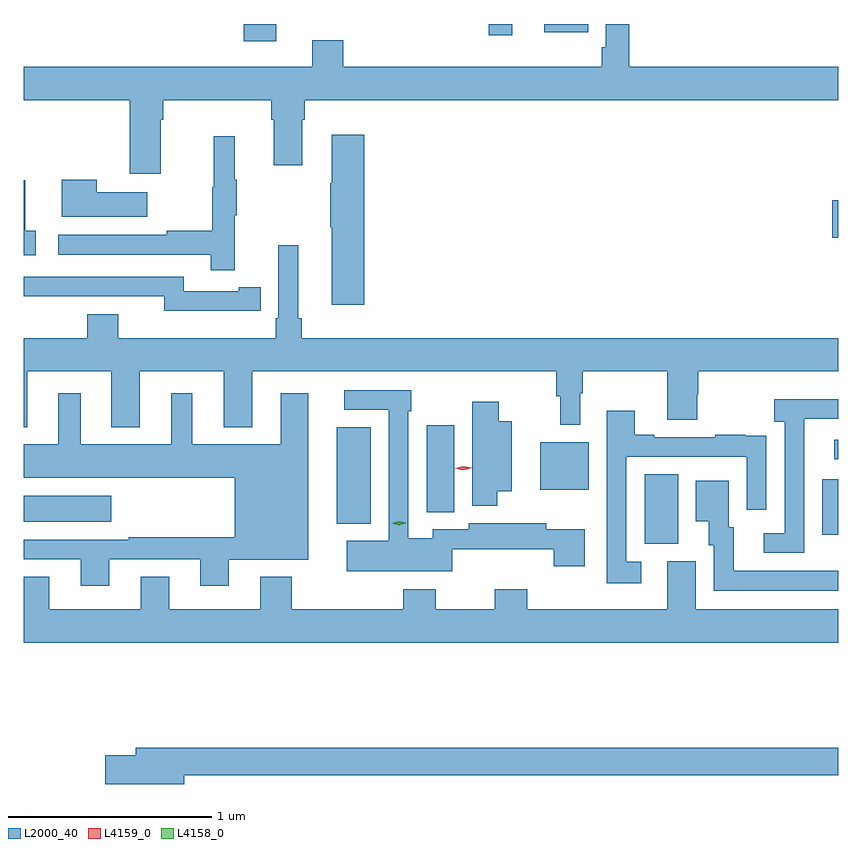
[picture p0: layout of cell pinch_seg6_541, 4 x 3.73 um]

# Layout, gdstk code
import gdstk
lib = gdstk.Library(unit=1e-6, precision=1e-09)
def R(c, l, rs):  # rectangles x0, y0, x1, y1
    for r in rs: c.add(gdstk.rectangle(r[:2], r[2:], *l))
def P(c, l, *ps):  # polygons
    for p in ps: c.add(gdstk.Polygon(p, *l))
L2000_40 = (2000, 40)
L4158_0 = (4158, 0)
L4159_0 = (4159, 0)

pinch_seg6_541 = lib.new_cell('pinch_seg6_541')
R(pinch_seg6_541, L2000_40, [(580.238,990.445,580.402,990.788), (581.111,990.489,581.189,990.763), (578.726,990.545,578.893,991.019), (577.189,990.554,577.618,990.682), (579.167,990.601,579.304,991.027), (579.725,990.71,579.964,990.943), (581.169,990.861,581.189,990.957), (581.16,991.949,581.189,992.132), (578.27,992.913,578.428,992.998), (579.472,992.943,579.588,992.998), (579.746,992.957,579.962,992.998)])
P(pinch_seg6_541, L2000_40, [(577.861,992.528),(577.874,992.528),(577.874,992.624),(578.405,992.624),(578.405,992.528),(578.417,992.528),(578.417,992.304),(578.557,992.304),(578.557,992.528),(578.57,992.528),(578.57,992.624),(581.189,992.624),(581.189,992.788),(580.163,992.788),(580.163,992.998),(580.047,992.998),(580.047,992.884),(580.027,992.884),(580.027,992.788),(578.759,992.788),(578.759,992.918),(578.606,992.918),(578.606,992.788),(577.189,992.788),(577.189,992.624),(577.709,992.624),(577.709,992.262),(577.861,992.262)],
  [(578.861,992.455),(578.702,992.455),(578.702,992.216),(578.695,992.216),(578.695,991.999),(578.702,991.999),(578.702,991.62),(578.861,991.62)],
  [(578.225,992.059),(578.236,992.059),(578.236,992.233),(578.225,992.233),(578.225,992.446),(578.122,992.446),(578.122,992.196),(578.115,992.196),(578.115,991.982),(577.891,991.982),(577.891,991.962),(577.359,991.962),(577.359,991.866),(578.107,991.866),(578.107,991.788),(578.225,991.788)],
  [(577.795,992.173),(577.547,992.173),(577.547,992.233),(577.376,992.233),(577.376,992.051),(577.795,992.051)],
  [(577.249,991.983),(577.196,991.983),(577.196,992.23),(577.189,992.23),(577.189,991.863),(577.249,991.863)],
  [(577.207,991.292),(577.619,991.292),(577.619,991.019),(577.759,991.019),(577.759,991.292),(578.171,991.292),(578.171,991.019),(578.311,991.019),(578.311,991.292),(579.805,991.292),(579.805,991.169),(579.823,991.169),(579.823,991.029),(579.922,991.029),(579.922,991.186),(579.934,991.186),(579.934,991.292),(580.349,991.292),(580.349,991.054),(580.497,991.054),(580.497,991.179),(580.502,991.179),(580.502,991.292),(581.189,991.292),(581.189,991.456),(578.555,991.456),(578.555,991.552),(578.536,991.552),(578.536,991.912),(578.439,991.912),(578.439,991.552),(578.426,991.552),(578.426,991.456),(577.654,991.456),(577.654,991.573),(577.502,991.573),(577.502,991.456),(577.189,991.456),(577.189,991.019),(577.207,991.019)],
  [(578.246,991.59),(578.354,991.59),(578.354,991.706),(578.246,991.706),(578.246,991.686),(577.974,991.686),(577.974,991.758),(577.189,991.758),(577.189,991.661),(577.418,991.661),(577.418,991.662),(577.878,991.662),(577.878,991.589),(578.246,991.589)],
  [(579.294,990.419),(579.791,990.419),(579.791,990.336),(579.943,990.336),(579.943,990.518),(579.754,990.518),(579.754,990.547),(579.374,990.547),(579.374,990.516),(579.198,990.516),(579.198,990.472),(579.078,990.472),(579.078,991.097),(579.091,991.097),(579.091,991.2),(578.763,991.2),(578.763,991.104),(578.982,991.104),(578.982,990.46),(578.775,990.46),(578.775,990.311),(579.294,990.311)],
  [(577.609,990.369),(578.057,990.369),(578.057,990.24),(578.197,990.24),(578.197,990.368),(578.587,990.368),(578.587,991.186),(578.45,991.186),(578.45,990.934),(578.017,990.934),(578.017,991.186),(577.913,991.186),(577.913,990.934),(577.468,990.934),(577.468,991.186),(577.358,991.186),(577.358,990.934),(577.189,990.934),(577.189,990.77),(578.225,990.77),(578.225,990.478),(577.705,990.478),(577.705,990.465),(577.189,990.465),(577.189,990.369),(577.469,990.369),(577.469,990.24),(577.609,990.24)],
  [(581.022,990.859),(581.023,990.859),(581.023,991.059),(581.189,991.059),(581.189,991.156),(580.875,991.156),(580.875,991.046),(580.926,991.046),(580.926,990.498),(580.824,990.498),(580.824,990.402),(581.022,990.402)],
  [(579.514,990.704),(579.586,990.704),(579.586,991.048),(579.522,991.048),(579.522,991.144),(579.392,991.144),(579.392,990.632),(579.514,990.632)],
  [(580.222,990.357),(580.149,990.357),(580.149,990.873),(580.74,990.873),(580.74,990.612),(580.836,990.612),(580.836,990.866),(580.835,990.866),(580.835,990.975),(580.733,990.975),(580.733,990.982),(580.585,990.982),(580.585,990.969),(580.285,990.969),(580.285,990.982),(580.189,990.982),(580.189,991.099),(580.053,991.099),(580.053,990.252),(580.222,990.252)],
  [(581.189,990.313),(581.159,990.313),(581.159,990.312),(580.675,990.312),(580.675,990.528),(580.651,990.528),(580.651,990.754),(580.49,990.754),(580.49,990.557),(580.553,990.557),(580.553,990.438),(580.578,990.438),(580.578,990.216),(581.189,990.216)],
  [(581.189,990.124),(580.489,990.124),(580.489,990.36),(580.349,990.36),(580.349,990.124),(579.662,990.124),(579.662,990.223),(579.502,990.223),(579.502,990.124),(579.213,990.124),(579.213,990.223),(579.053,990.223),(579.053,990.124),(578.504,990.124),(578.504,990.283),(578.351,990.283),(578.351,990.124),(577.903,990.124),(577.903,990.284),(577.763,990.284),(577.763,990.124),(577.315,990.124),(577.315,990.284),(577.189,990.284),(577.189,989.96),(581.189,989.96)],
  [(577.978,989.308),(581.189,989.308),(581.189,989.444),(577.739,989.444),(577.739,989.408),(577.59,989.408),(577.59,989.266),(577.978,989.266)])
P(pinch_seg6_541, L4158_0, [(579.031,990.537),(578.996,990.546),(578.996,990.546),(578.996,990.546),(579.031,990.557),(579.066,990.548),(579.066,990.547),(579.066,990.547)])
P(pinch_seg6_541, L4159_0, [(579.348,990.807),(579.307,990.816),(579.307,990.816),(579.307,990.817),(579.347,990.827),(579.388,990.818),(579.388,990.818),(579.388,990.818)])

lib.write_gds('pinch_seg6_541.gds')
